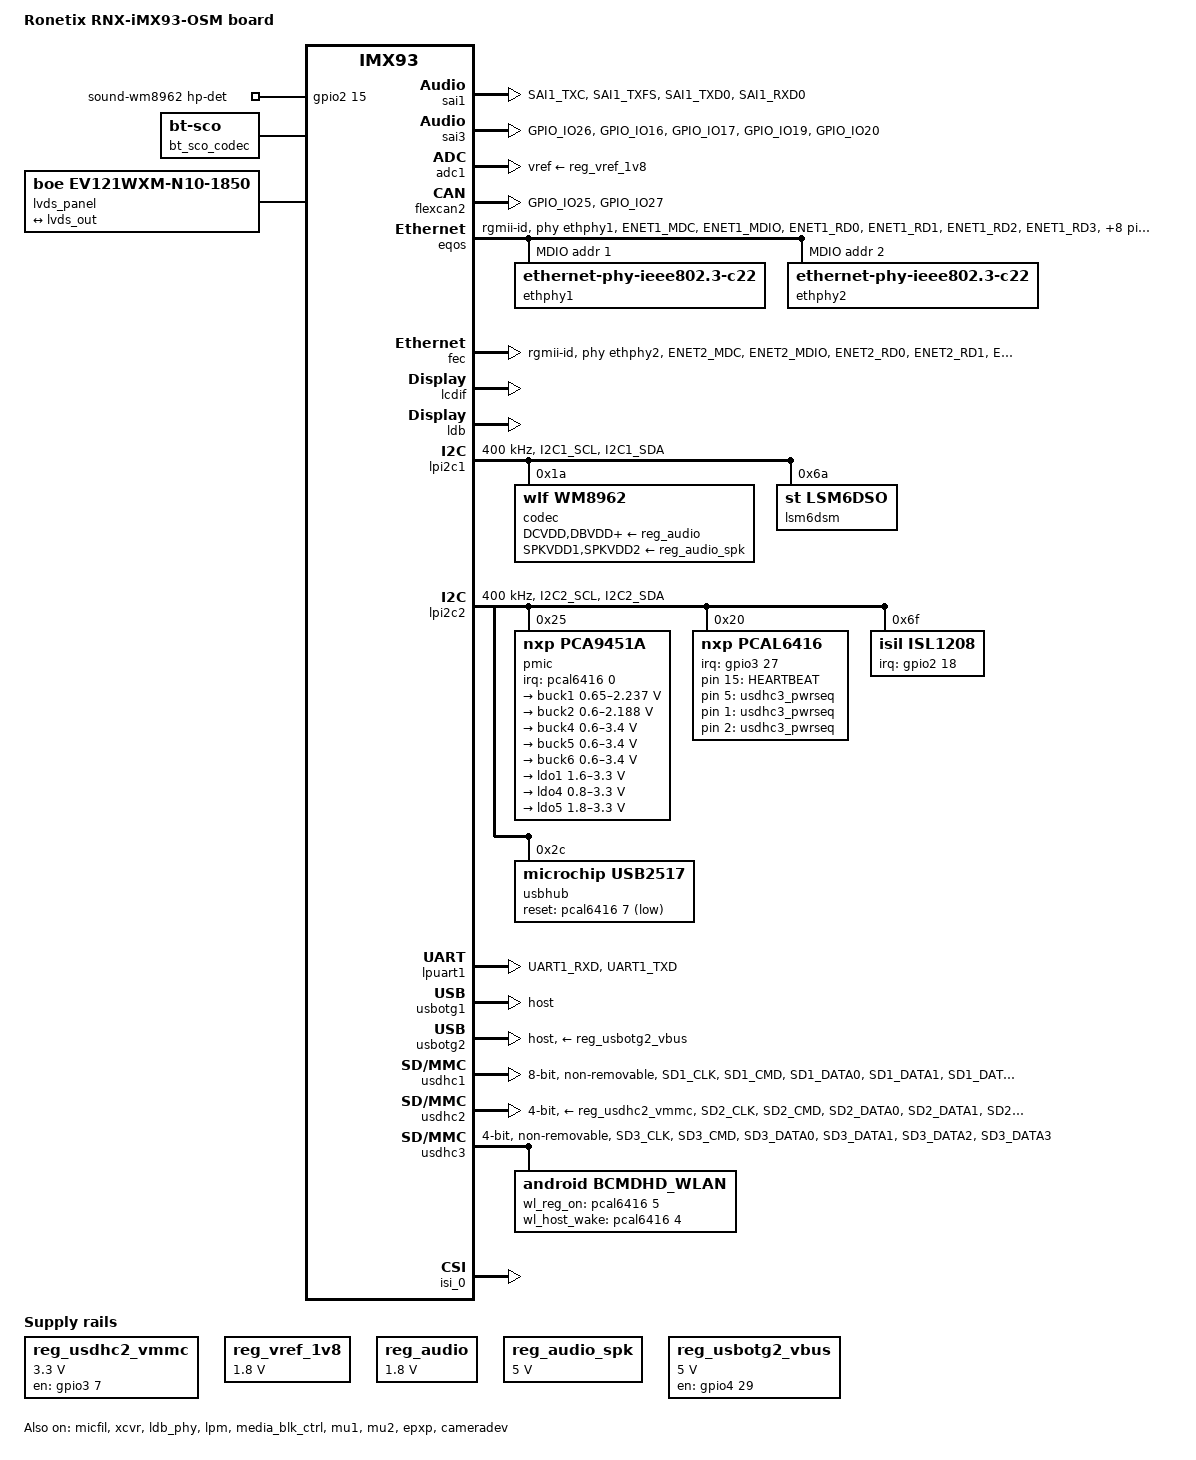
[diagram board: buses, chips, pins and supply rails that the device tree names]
// SPDX-License-Identifier: (GPL-2.0+ OR MIT)
/*
 * Copyright 2022 NXP
 */

/dts-v1/;

#include <dt-bindings/usb/pd.h>
#include "imx93.dtsi"

&ele_mu {
	memory-region = <&ele_reserved>;
};

/ {
	model = "Ronetix RNX-iMX93-OSM board";
	compatible = "fsl,imx93-osm", "fsl,imx93";

	chosen {
		stdout-path = &lpuart1;
	};

	leds {
		compatible = "gpio-leds";

		debug-led0 {
			label = "HEARTBEAT";
			gpios = <&pcal6416 15 GPIO_ACTIVE_HIGH>;
			linux,default-trigger = "heartbeat";
		};
	};

	reserved-memory {
		#address-cells = <2>;
		#size-cells = <2>;
		ranges;

		linux,cma {
			compatible = "shared-dma-pool";
			reusable;
			alloc-ranges = <0 0x80000000 0 0x40000000>;
			size = <0 0x10000000>;
			linux,cma-default;
		};

		ethosu_mem: ethosu_region@C0000000 {
			compatible = "shared-dma-pool";
			reusable;
			reg = <0x0 0xC0000000 0x0 0x10000000>;
		};

		vdev0vring0: vdev0vring0@a4000000 {
			reg = <0 0xa4000000 0 0x8000>;
			no-map;
		};

		vdev0vring1: vdev0vring1@a4008000 {
			reg = <0 0xa4008000 0 0x8000>;
			no-map;
		};

		vdev1vring0: vdev1vring0@a4000000 {
			reg = <0 0xa4010000 0 0x8000>;
			no-map;
		};

		vdev1vring1: vdev1vring1@a4018000 {
			reg = <0 0xa4018000 0 0x8000>;
			no-map;
		};

		rsc_table: rsc-table@2021f000 {
			reg = <0 0x2021f000 0 0x1000>;
			no-map;
		};

		vdevbuffer: vdevbuffer@a4020000 {
			compatible = "shared-dma-pool";
			reg = <0 0xa4020000 0 0x100000>;
			no-map;
		};

		ele_reserved: ele-reserved@a4120000 {
			compatible = "shared-dma-pool";
			reg = <0 0xa4120000 0 0x100000>;
			no-map;
		};
	};

	cm33: imx93-cm33 {
		compatible = "fsl,imx93-cm33";
		mbox-names = "tx", "rx", "rxdb";
		mboxes = <&mu1 0 1
			  &mu1 1 1
			  &mu1 3 1>;
		memory-region = <&vdevbuffer>, <&vdev0vring0>, <&vdev0vring1>,
				<&vdev1vring0>, <&vdev1vring1>, <&rsc_table>;
		fsl,startup-delay-ms = <500>;
	};

	ethosu {
		compatible = "arm,ethosu";
		fsl,cm33-proc = <&cm33>;
		memory-region = <&ethosu_mem>;
		power-domains = <&mlmix>;
	};

	reg_usdhc2_vmmc: regulator-usdhc2 {
		compatible = "regulator-fixed";
		pinctrl-names = "default";
		pinctrl-0 = <&pinctrl_reg_usdhc2_vmmc>;
		regulator-name = "VSD_3V3";
		regulator-min-microvolt = <3300000>;
		regulator-max-microvolt = <3300000>;
		gpio = <&gpio3 7 GPIO_ACTIVE_HIGH>;
		off-on-delay-us = <12000>;
		enable-active-high;
	};

	usdhc3_pwrseq: usdhc3_pwrseq {
		compatible = "mmc-pwrseq-simple";
		gpio = <&pcal6416 5 GPIO_ACTIVE_HIGH &pcal6416 1 GPIO_ACTIVE_HIGH &pcal6416 2 GPIO_ACTIVE_HIGH>;
		off-on-delay-us = <150000>;
	};

	reg_vref_1v8: regulator-adc-vref {
		compatible = "regulator-fixed";
		regulator-name = "vref_1v8";
		regulator-min-microvolt = <1800000>;
		regulator-max-microvolt = <1800000>;
	};

	reg_audio: regulator-audio {
		compatible = "regulator-fixed";
		regulator-name = "1v8_aud";
		regulator-min-microvolt = <1800000>;
		regulator-max-microvolt = <1800000>;
	};

	reg_audio_spk: regulator-audio-spk {
		compatible = "regulator-fixed";
		regulator-name = "5v0_speaker";
		regulator-min-microvolt = <5000000>;
		regulator-max-microvolt = <5000000>;
	};
	
	reg_usbotg2_vbus: regulator-usbotg2-vbus {
		compatible = "regulator-fixed";
		regulator-name = "vbus";
		pinctrl-names = "default";
		pinctrl-0 = <&pinctrl_usbotg2>;
		regulator-min-microvolt = <5000000>;
		regulator-max-microvolt = <5000000>;
		gpio = <&gpio4 29 GPIO_ACTIVE_HIGH>;
		enable-active-high;
	};

	sound-wm8962 {
		compatible = "fsl,imx-audio-wm8962";
		model = "wm8962-audio";
		audio-cpu = <&sai3>;
		audio-codec = <&codec>;
		hp-det-gpio = <&gpio2 15 GPIO_ACTIVE_HIGH>;
		audio-routing =
			"Headphone Jack", "HPOUTL",
			"Headphone Jack", "HPOUTR",
			"Ext Spk", "SPKOUTL",
			"Ext Spk", "SPKOUTR",
			"AMIC", "MICBIAS",
			"IN3R", "AMIC",
			"IN1R", "AMIC";
	};

	sound-micfil {
		compatible = "fsl,imx-audio-card";
		model = "micfil-audio";
		pri-dai-link {
			link-name = "micfil hifi";
			format = "i2s";
			cpu {
				sound-dai = <&micfil>;
			};
		};
	};

	bt_sco_codec: bt_sco_codec {
		#sound-dai-cells = <1>;
		compatible = "linux,bt-sco";
	};

	sound-bt-sco {
		compatible = "simple-audio-card";
		simple-audio-card,name = "bt-sco-audio";
		simple-audio-card,format = "dsp_a";
		simple-audio-card,bitclock-inversion;
		simple-audio-card,frame-master = <&btcpu>;
		simple-audio-card,bitclock-master = <&btcpu>;

		btcpu: simple-audio-card,cpu {
			sound-dai = <&sai1>;
			dai-tdm-slot-num = <2>;
			dai-tdm-slot-width = <16>;
		};

		simple-audio-card,codec {
			sound-dai = <&bt_sco_codec 1>;
		};
	};

	sound-xcvr {
		compatible = "fsl,imx-audio-card";
		model = "imx-audio-xcvr";
		pri-dai-link {
			link-name = "XCVR PCM";
			cpu {
				sound-dai = <&xcvr>;
			};
		};
	};

	lvds_panel {
		compatible = "boe,ev121wxm-n10-1850";
/*		backlight = <&lvds_backlight>;*/

		port {
			panel_lvds_in: endpoint {
				remote-endpoint = <&lvds_out>;
			};
		};
	};
};

&sai1 {
	#sound-dai-cells = <0>;
	pinctrl-names = "default";
	pinctrl-0 = <&pinctrl_sai1>;
	assigned-clocks = <&clk IMX93_CLK_SAI1>;
	assigned-clock-parents = <&clk IMX93_CLK_AUDIO_PLL>;
	assigned-clock-rates = <12288000>;
	status = "okay";
};

&sai3 {
	pinctrl-names = "default";
	pinctrl-0 = <&pinctrl_sai3>;
	assigned-clocks = <&clk IMX93_CLK_SAI3>;
	assigned-clock-parents = <&clk IMX93_CLK_AUDIO_PLL>;
	assigned-clock-rates = <12288000>;
	fsl,sai-mclk-direction-output;
	status = "okay";
};

&micfil {
	#sound-dai-cells = <0>;
	pinctrl-names = "default";
	pinctrl-0 = <&pinctrl_pdm>;
	assigned-clocks = <&clk IMX93_CLK_PDM>;
	assigned-clock-parents = <&clk IMX93_CLK_AUDIO_PLL>;
	assigned-clock-rates = <49152000>;
	status = "okay";
};

&xcvr {
	#sound-dai-cells = <0>;
	pinctrl-names = "default";
	pinctrl-0 = <&pinctrl_spdif>;
	clocks = <&clk IMX93_CLK_BUS_WAKEUP>,
		<&clk IMX93_CLK_SPDIF_GATE>,
		<&clk IMX93_CLK_DUMMY>,
		<&clk IMX93_CLK_AUD_XCVR_GATE>,
		<&clk IMX93_CLK_AUDIO_PLL>;
	clock-names = "ipg", "phy", "spba", "pll_ipg", "pll8k";
	assigned-clocks = <&clk IMX93_CLK_SPDIF>,
			 <&clk IMX93_CLK_AUDIO_XCVR>;
	assigned-clock-parents = <&clk IMX93_CLK_AUDIO_PLL>,
			 <&clk IMX93_CLK_SYS_PLL_PFD1_DIV2>;
	assigned-clock-rates = <12288000>, <200000000>;
	status = "okay";
};
	
&adc1 {
	vref-supply = <&reg_vref_1v8>;
	status = "okay";
};

&flexcan2 {
	pinctrl-names = "default";
	pinctrl-0 = <&pinctrl_flexcan2>;
	status = "okay";
};

/* ethernet@428a0000
 * Carrier board: ETH1
 * Linux console: eth1
 */
&eqos {
	pinctrl-names = "default";
	pinctrl-0 = <&pinctrl_eqos>;
	phy-mode = "rgmii-id";
	phy-handle = <&ethphy1>;
	status = "okay";

	mdio {
		compatible = "snps,dwmac-mdio";
		#address-cells = <1>;
		#size-cells = <0>;
		clock-frequency = <5000000>;

		ethphy1: ethernet-phy@1 {
			compatible = "ethernet-phy-ieee802.3-c22";
			reg = <1>;
		};

		ethphy2: ethernet-phy@2 {
			compatible = "ethernet-phy-ieee802.3-c22";
			reg = <2>;
		};
	};
};

/* ethernet@42890000
 * Carrier: ETH2
 * Linux:   eth0
 */
&fec {
	pinctrl-names = "default";
	pinctrl-0 = <&pinctrl_fec>;
	phy-mode = "rgmii-id";
	phy-handle = <&ethphy2>;
	fsl,magic-packet;
	status = "okay";
	/*
	mdio {
		#address-cells = <1>;
		#size-cells = <0>;
		clock-frequency = <5000000>;

		ethphy2: ethernet-phy@2 {
			compatible = "ethernet-phy-ieee802.3-c22";
			reg = <2>;
			eee-broken-1000t;
		};
	};
*/	
};

&dphy {
	status = "disabled";
};

&dsi {
	status = "disabled";
};

&lcdif {
	status = "okay";
	assigned-clock-rates = <445333333>, <148444444>, <400000000>, <133333333>;
};

&ldb {
	status = "okay";

	lvds-channel@0 {
		status = "okay";

		port@1 {
			reg = <1>;

			lvds_out: endpoint {
				remote-endpoint = <&panel_lvds_in>;
			};
		};
	};
};

&ldb_phy {
	status = "okay";
};


&lpm {
	soc-supply = <&buck1>;
	status = "okay";
};

/*
 * When add, delete or change any target device setting in &lpi2c1,
 * please synchronize the changes to the &i3c1 bus in imx93-11x11-evk-i3c.dts.
 */
&lpi2c1 {
	#address-cells = <1>;
	#size-cells = <0>;
	clock-frequency = <400000>;
	pinctrl-names = "default", "sleep";
	pinctrl-0 = <&pinctrl_lpi2c1>;
	pinctrl-1 = <&pinctrl_lpi2c1>;
	status = "okay";

	codec: wm8962@1a {
		compatible = "wlf,wm8962";
		reg = <0x1a>;
		clocks = <&clk IMX93_CLK_SAI3_GATE>;
		DCVDD-supply = <&reg_audio>;
		DBVDD-supply = <&reg_audio>;
		AVDD-supply = <&reg_audio>;
		CPVDD-supply = <&reg_audio>;
		MICVDD-supply = <&reg_audio>;
		PLLVDD-supply = <&reg_audio>;
		SPKVDD1-supply = <&reg_audio_spk>;
		SPKVDD2-supply = <&reg_audio_spk>;
		gpio-cfg = <
			0x0000 /* 0:Default */
			0x0000 /* 1:Default */
			0x0000 /* 2:FN_DMICCLK */
			0x0000 /* 3:Default */
			0x0000 /* 4:FN_DMICCDAT */
			0x0000 /* 5:Default */
		>;
	};

	lsm6dsm@6a {
		compatible = "st,lsm6dso";
		reg = <0x6a>;
	};
};

&lpi2c2 {
	#address-cells = <1>;
	#size-cells = <0>;
	clock-frequency = <400000>;
	pinctrl-names = "default", "sleep";
	pinctrl-0 = <&pinctrl_lpi2c2>;
	pinctrl-1 = <&pinctrl_lpi2c2>;
	status = "okay";

	pmic@25 {
		compatible = "nxp,pca9451a";
		reg = <0x25>;
		interrupt-parent = <&pcal6416>;
		interrupts = <0 IRQ_TYPE_EDGE_FALLING>;

		regulators {
			buck1: BUCK1 {
				regulator-name = "BUCK1";
				regulator-min-microvolt = <650000>;
				regulator-max-microvolt = <2237500>;
				regulator-boot-on;
				regulator-always-on;
				regulator-ramp-delay = <3125>;
			};

			buck2: BUCK2 {
				regulator-name = "BUCK2";
				regulator-min-microvolt = <600000>;
				regulator-max-microvolt = <2187500>;
				regulator-boot-on;
				regulator-always-on;
				regulator-ramp-delay = <3125>;
			};

			buck4: BUCK4{
				regulator-name = "BUCK4";
				regulator-min-microvolt = <600000>;
				regulator-max-microvolt = <3400000>;
				regulator-boot-on;
				regulator-always-on;
			};

			buck5: BUCK5{
				regulator-name = "BUCK5";
				regulator-min-microvolt = <600000>;
				regulator-max-microvolt = <3400000>;
				regulator-boot-on;
				regulator-always-on;
			};

			buck6: BUCK6 {
				regulator-name = "BUCK6";
				regulator-min-microvolt = <600000>;
				regulator-max-microvolt = <3400000>;
				regulator-boot-on;
				regulator-always-on;
			};

			ldo1: LDO1 {
				regulator-name = "LDO1";
				regulator-min-microvolt = <1600000>;
				regulator-max-microvolt = <3300000>;
				regulator-boot-on;
				regulator-always-on;
			};

			ldo4: LDO4 {
				regulator-name = "LDO4";
				regulator-min-microvolt = <800000>;
				regulator-max-microvolt = <3300000>;
				regulator-boot-on;
				regulator-always-on;
			};

			ldo5: LDO5 {
				regulator-name = "LDO5";
				regulator-min-microvolt = <1800000>;
				regulator-max-microvolt = <3300000>;
				regulator-boot-on;
				regulator-always-on;
			};
		};
	};

	pcal6416: gpio@20 {
		compatible = "nxp,pcal6416";
		pinctrl-names = "default";
		pinctrl-0 = <&pinctrl_pcal6416>;
		reg = <0x20>;
		gpio-controller;
		#gpio-cells = <2>;
		interrupt-controller;
		#interrupt-cells = <2>;
		interrupt-parent = <&gpio3>;
		interrupts = <27 IRQ_TYPE_LEVEL_LOW>;
	};

	isl1208: rtc@6f {
			compatible = "isil,isl1208";
			reg = <0x6F>;
			interrupt-parent = <&gpio2>;
			interrupts = <18 IRQ_TYPE_EDGE_FALLING>;
			status = "okay";
	};
	
	usbhub: usbhub@2c {
		compatible = "microchip,usb2517";
		reg = <0x2c>;
		reset-gpios = <&pcal6416 7 GPIO_ACTIVE_LOW>;
	};
};

&lpuart1 { /* console */
	pinctrl-names = "default";
	pinctrl-0 = <&pinctrl_uart1>;
	status = "okay";
};

&media_blk_ctrl {
	status = "okay";
};

&mu1 {
	status = "okay";
};

&mu2 {
	status = "okay";
};

&usbotg1 {
	dr_mode = "host";
	status = "okay";
};

&usbotg2 {
	dr_mode = "host";
	status = "okay";
	vbus-supply = <&reg_usbotg2_vbus>;
};

&usdhc1 {
	pinctrl-names = "default", "state_100mhz", "state_200mhz";
	pinctrl-0 = <&pinctrl_usdhc1>;
	pinctrl-1 = <&pinctrl_usdhc1>;
	pinctrl-2 = <&pinctrl_usdhc1>;
	bus-width = <8>;
	non-removable;
	status = "okay";
};

&usdhc2 {
	pinctrl-names = "default", "state_100mhz", "state_200mhz";
	pinctrl-0 = <&pinctrl_usdhc2>, <&pinctrl_usdhc2_gpio>;
	pinctrl-1 = <&pinctrl_usdhc2>, <&pinctrl_usdhc2_gpio>;
	pinctrl-2 = <&pinctrl_usdhc2>, <&pinctrl_usdhc2_gpio>;
	cd-gpios = <&gpio3 00 GPIO_ACTIVE_HIGH>;
	vmmc-supply = <&reg_usdhc2_vmmc>;
	keep-power-in-suspend;
	bus-width = <4>;
	status = "okay";
	no-sdio;
	no-mmc;
};

&usdhc3 {
	#address-cells = <1>;
	#size-cells = <0>;
	pinctrl-names = "default", "state_100mhz", "state_200mhz";
	pinctrl-0 = <&pinctrl_usdhc3>;
	pinctrl-1 = <&pinctrl_usdhc3>;
	pinctrl-2 = <&pinctrl_usdhc3>;
	mmc-pwrseq = <&usdhc3_pwrseq>;
	bus-width = <4>;
	max-frequency = <100000000>;
	non-removable;
	no-mmc;
	no-sd;
	status = "okay";
	
	bcmdhd_wlan {
	compatible = "android,bcmdhd_wlan";
	gpio_wl_reg_on = <&pcal6416 5 GPIO_ACTIVE_HIGH>;
	gpio_wl_host_wake = <&pcal6416 4 IRQ_TYPE_EDGE_FALLING>;
	};
};

&iomuxc {
	pinctrl_flexcan2: flexcan2grp {
		fsl,pins = <
			MX93_PAD_GPIO_IO25__CAN2_TX	0x139e
			MX93_PAD_GPIO_IO27__CAN2_RX	0x139e
		>;
	};

	pinctrl_lpi2c1: lpi2c1grp {
		fsl,pins = <
			MX93_PAD_I2C1_SCL__LPI2C1_SCL			0x40000b9e
			MX93_PAD_I2C1_SDA__LPI2C1_SDA			0x40000b9e
		>;
	};

	pinctrl_lpi2c2: lpi2c2grp {
		fsl,pins = <
			MX93_PAD_I2C2_SCL__LPI2C2_SCL			0x40000b9e
			MX93_PAD_I2C2_SDA__LPI2C2_SDA			0x40000b9e
		>;
	};

	pinctrl_pcal6416: pcal6416grp {
		fsl,pins = <
			MX93_PAD_CCM_CLKO2__GPIO3_IO27			0x31e
		>;
	};

	pinctrl_eqos: eqosgrp {
		fsl,pins = <
			MX93_PAD_ENET1_MDC__ENET_QOS_MDC			0x57e
			MX93_PAD_ENET1_MDIO__ENET_QOS_MDIO			0x57e
			MX93_PAD_ENET1_RD0__ENET_QOS_RGMII_RD0			0x57e
			MX93_PAD_ENET1_RD1__ENET_QOS_RGMII_RD1			0x57e
			MX93_PAD_ENET1_RD2__ENET_QOS_RGMII_RD2			0x57e
			MX93_PAD_ENET1_RD3__ENET_QOS_RGMII_RD3			0x57e
			MX93_PAD_ENET1_RXC__CCM_ENET_QOS_CLOCK_GENERATE_RX_CLK	0x5fe
			MX93_PAD_ENET1_RX_CTL__ENET_QOS_RGMII_RX_CTL		0x57e
			MX93_PAD_ENET1_TD0__ENET_QOS_RGMII_TD0			0x57e
			MX93_PAD_ENET1_TD1__ENET_QOS_RGMII_TD1			0x57e
			MX93_PAD_ENET1_TD2__ENET_QOS_RGMII_TD2			0x57e
			MX93_PAD_ENET1_TD3__ENET_QOS_RGMII_TD3			0x57e
			MX93_PAD_ENET1_TXC__CCM_ENET_QOS_CLOCK_GENERATE_TX_CLK	0x5fe
			MX93_PAD_ENET1_TX_CTL__ENET_QOS_RGMII_TX_CTL		0x57e
		>;
	};

	pinctrl_fec: fecgrp {
		fsl,pins = <
			MX93_PAD_ENET2_MDC__ENET1_MDC			0x57e
			MX93_PAD_ENET2_MDIO__ENET1_MDIO			0x57e
			MX93_PAD_ENET2_RD0__ENET1_RGMII_RD0		0x57e
			MX93_PAD_ENET2_RD1__ENET1_RGMII_RD1		0x57e
			MX93_PAD_ENET2_RD2__ENET1_RGMII_RD2		0x57e
			MX93_PAD_ENET2_RD3__ENET1_RGMII_RD3		0x57e
			MX93_PAD_ENET2_RXC__ENET1_RGMII_RXC		0x5fe
			MX93_PAD_ENET2_RX_CTL__ENET1_RGMII_RX_CTL	0x57e
			MX93_PAD_ENET2_TD0__ENET1_RGMII_TD0		0x57e
			MX93_PAD_ENET2_TD1__ENET1_RGMII_TD1		0x57e
			MX93_PAD_ENET2_TD2__ENET1_RGMII_TD2		0x57e
			MX93_PAD_ENET2_TD3__ENET1_RGMII_TD3		0x57e
			MX93_PAD_ENET2_TXC__ENET1_RGMII_TXC		0x5fe
			MX93_PAD_ENET2_TX_CTL__ENET1_RGMII_TX_CTL	0x57e
		>;
	};

	pinctrl_uart1: uart1grp {
		fsl,pins = <
			MX93_PAD_UART1_RXD__LPUART1_RX			0x31e
			MX93_PAD_UART1_TXD__LPUART1_TX			0x31e
		>;
	};

	pinctrl_uart5: uart5grp {
		fsl,pins = <
			MX93_PAD_DAP_TDO_TRACESWO__LPUART5_TX	0x31e
			MX93_PAD_DAP_TDI__LPUART5_RX		0x31e
			MX93_PAD_DAP_TMS_SWDIO__LPUART5_RTS_B	0x31e
			MX93_PAD_DAP_TCLK_SWCLK__LPUART5_CTS_B	0x31e
		>;
	};

	pinctrl_usdhc1: usdhc1grp {
		fsl,pins = <
			MX93_PAD_SD1_CLK__USDHC1_CLK		0x15fe
			MX93_PAD_SD1_CMD__USDHC1_CMD		0x13fe
			MX93_PAD_SD1_DATA0__USDHC1_DATA0	0x13fe
			MX93_PAD_SD1_DATA1__USDHC1_DATA1	0x13fe
			MX93_PAD_SD1_DATA2__USDHC1_DATA2	0x13fe
			MX93_PAD_SD1_DATA3__USDHC1_DATA3	0x13fe
			MX93_PAD_SD1_DATA4__USDHC1_DATA4	0x13fe
			MX93_PAD_SD1_DATA5__USDHC1_DATA5	0x13fe
			MX93_PAD_SD1_DATA6__USDHC1_DATA6	0x13fe
			MX93_PAD_SD1_DATA7__USDHC1_DATA7	0x13fe
			MX93_PAD_SD1_STROBE__USDHC1_STROBE	0x15fe
		>;
	};

	pinctrl_reg_usdhc2_vmmc: regusdhc2vmmcgrp {
		fsl,pins = <
			MX93_PAD_SD2_RESET_B__GPIO3_IO07	0x31e
		>;
	};

	pinctrl_usdhc2_gpio: usdhc2gpiogrp {
		fsl,pins = <
			MX93_PAD_SD2_CD_B__GPIO3_IO00		0x31e
		>;
	};

	pinctrl_usdhc2: usdhc2grp {
		fsl,pins = <
			MX93_PAD_SD2_CLK__USDHC2_CLK		0x15fe
			MX93_PAD_SD2_CMD__USDHC2_CMD		0x13fe
			MX93_PAD_SD2_DATA0__USDHC2_DATA0	0x13fe
			MX93_PAD_SD2_DATA1__USDHC2_DATA1	0x13fe
			MX93_PAD_SD2_DATA2__USDHC2_DATA2	0x13fe
			MX93_PAD_SD2_DATA3__USDHC2_DATA3	0x13fe
			MX93_PAD_SD2_VSELECT__USDHC2_VSELECT	0x51e
		>;
	};

	pinctrl_usdhc3: usdhc3grp {
		fsl,pins = <
			MX93_PAD_SD3_CLK__USDHC3_CLK		0x15fe
			MX93_PAD_SD3_CMD__USDHC3_CMD		0x13fe
			MX93_PAD_SD3_DATA0__USDHC3_DATA0	0x13fe
			MX93_PAD_SD3_DATA1__USDHC3_DATA1	0x13fe
			MX93_PAD_SD3_DATA2__USDHC3_DATA2	0x13fe
			MX93_PAD_SD3_DATA3__USDHC3_DATA3	0x13fe
		>;
	};

	pinctrl_sai1: sai1grp {
		fsl,pins = <
			MX93_PAD_SAI1_TXC__SAI1_TX_BCLK			0x31e
			MX93_PAD_SAI1_TXFS__SAI1_TX_SYNC		0x31e
			MX93_PAD_SAI1_TXD0__SAI1_TX_DATA00		0x31e
			MX93_PAD_SAI1_RXD0__SAI1_RX_DATA00		0x31e
		>;
	};

	pinctrl_sai3: sai3grp {
		fsl,pins = <
			MX93_PAD_GPIO_IO26__SAI3_TX_SYNC		0x31e
			MX93_PAD_GPIO_IO16__SAI3_TX_BCLK		0x31e
			MX93_PAD_GPIO_IO17__SAI3_MCLK		0x31e
			MX93_PAD_GPIO_IO19__SAI3_TX_DATA00		0x31e
			MX93_PAD_GPIO_IO20__SAI3_RX_DATA00		0x31e
		>;
	};

	pinctrl_pdm: pdmgrp {
		fsl,pins = <
			MX93_PAD_PDM_CLK__PDM_CLK			0x31e
			MX93_PAD_PDM_BIT_STREAM0__PDM_BIT_STREAM00	0x31e
			MX93_PAD_PDM_BIT_STREAM1__PDM_BIT_STREAM01	0x31e
		>;
	};

	pinctrl_spdif: spdifgrp {
		fsl,pins = <
			MX93_PAD_GPIO_IO22__SPDIF_IN		0x31e
			MX93_PAD_GPIO_IO23__SPDIF_OUT		0x31e
		>;
	};

	pinctrl_usbotg2: usbotg2grp {
		fsl,pins = <
			MX93_PAD_CCM_CLKO4__GPIO4_IO29		0x31e
		>;
	};
};

&epxp {
	status = "okay";
};

&cameradev {
	status = "okay";
};

&isi_0 {
	status = "okay";

	cap_device {
		status = "okay";
	};
};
